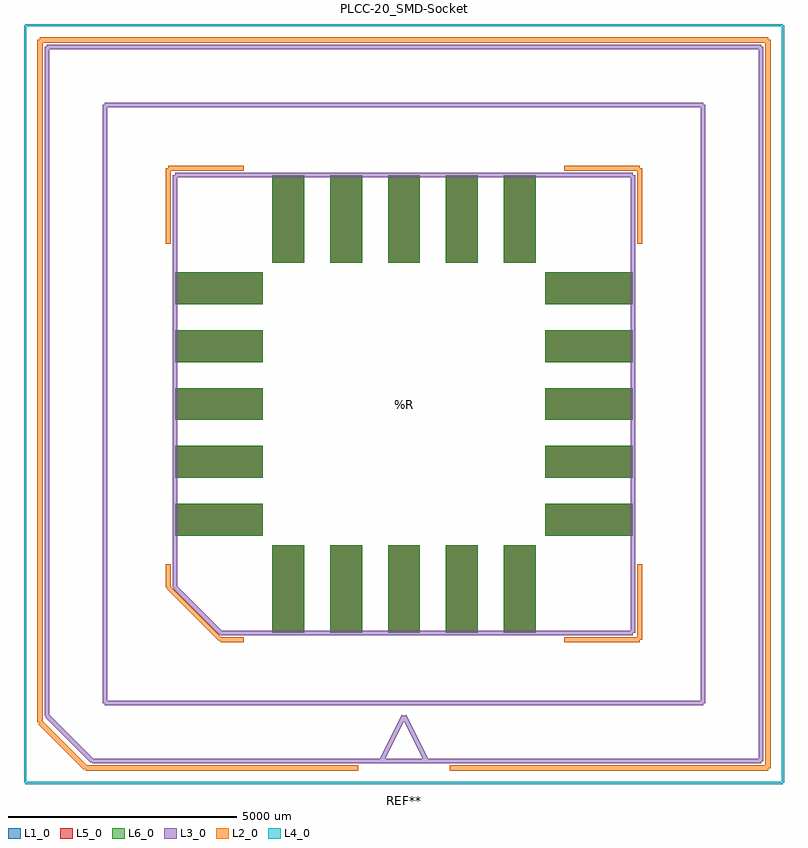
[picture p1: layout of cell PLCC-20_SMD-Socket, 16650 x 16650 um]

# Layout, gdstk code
import gdstk
lib = gdstk.Library(unit=1e-6, precision=1e-09)
def R(c, l, rs):  # rectangles x0, y0, x1, y1
    for r in rs: c.add(gdstk.rectangle(r[:2], r[2:], *l))
def A(c, l, x, y, w, h, nx, ny, dx, dy):  # array of equal rectangles
    R(c, l, [(x+i*dx, y+j*dy, x+i*dx+w, y+j*dy+h) for i in range(nx) for j in range(ny)])
L1_0 = (1, 0)
L2_0 = (2, 0)
L3_0 = (3, 0)
L4_0 = (4, 0)
L5_0 = (5, 0)
L6_0 = (6, 0)

plcc_20_smd_socket = lib.new_cell('PLCC-20_SMD-Socket')
A(plcc_20_smd_socket, L1_0, -2890, -5015, 700, 1925, 5, 2, 1270, 8105)
A(plcc_20_smd_socket, L1_0, -5015, -2890, 1925, 700, 1, 5, 0, 1270)
A(plcc_20_smd_socket, L1_0, 3090, -2890, 1925, 700, 1, 5, 0, 1270)
A(plcc_20_smd_socket, L5_0, -2890, -5015, 700, 1925, 5, 2, 1270, 8105)
A(plcc_20_smd_socket, L5_0, -5015, -2890, 1925, 700, 1, 5, 0, 1270)
A(plcc_20_smd_socket, L5_0, 3090, -2890, 1925, 700, 1, 5, 0, 1270)
A(plcc_20_smd_socket, L6_0, -2890, -5015, 700, 1925, 5, 2, 1270, 8105)
A(plcc_20_smd_socket, L6_0, -5015, -2890, 1925, 700, 1, 5, 0, 1270)
A(plcc_20_smd_socket, L6_0, 3090, -2890, 1925, 700, 1, 5, 0, 1270)
plcc_20_smd_socket.add(gdstk.FlexPath([(-6825,-7825),(-7825,-6825)], 100, ends="flush", simple_path=True, layer=3, datatype=0))  # L3_0
plcc_20_smd_socket.add(gdstk.FlexPath([(-7825,-6825),(-7825,7825)], 100, ends="flush", simple_path=True, layer=3, datatype=0))  # L3_0
plcc_20_smd_socket.add(gdstk.FlexPath([(-7825,7825),(7825,7825)], 100, ends="flush", simple_path=True, layer=3, datatype=0))  # L3_0
plcc_20_smd_socket.add(gdstk.FlexPath([(7825,7825),(7825,-7825)], 100, ends="flush", simple_path=True, layer=3, datatype=0))  # L3_0
plcc_20_smd_socket.add(gdstk.FlexPath([(7825,-7825),(-6825,-7825)], 100, ends="flush", simple_path=True, layer=3, datatype=0))  # L3_0
plcc_20_smd_socket.add(gdstk.FlexPath([(-8300,-8300),(-8300,8300)], 50, ends="flush", simple_path=True, layer=4, datatype=0))  # L4_0
plcc_20_smd_socket.add(gdstk.FlexPath([(-8300,8300),(8300,8300)], 50, ends="flush", simple_path=True, layer=4, datatype=0))  # L4_0
plcc_20_smd_socket.add(gdstk.FlexPath([(8300,8300),(8300,-8300)], 50, ends="flush", simple_path=True, layer=4, datatype=0))  # L4_0
plcc_20_smd_socket.add(gdstk.FlexPath([(8300,-8300),(-8300,-8300)], 50, ends="flush", simple_path=True, layer=4, datatype=0))  # L4_0
plcc_20_smd_socket.add(gdstk.FlexPath([(-4015,-5015),(-5015,-4015)], 100, ends="flush", simple_path=True, layer=3, datatype=0))  # L3_0
plcc_20_smd_socket.add(gdstk.FlexPath([(-5015,-4015),(-5015,5015)], 100, ends="flush", simple_path=True, layer=3, datatype=0))  # L3_0
plcc_20_smd_socket.add(gdstk.FlexPath([(-5015,5015),(5015,5015)], 100, ends="flush", simple_path=True, layer=3, datatype=0))  # L3_0
plcc_20_smd_socket.add(gdstk.FlexPath([(5015,5015),(5015,-5015)], 100, ends="flush", simple_path=True, layer=3, datatype=0))  # L3_0
plcc_20_smd_socket.add(gdstk.FlexPath([(5015,-5015),(-4015,-5015)], 100, ends="flush", simple_path=True, layer=3, datatype=0))  # L3_0
plcc_20_smd_socket.add(gdstk.FlexPath([(-6555,-6555),(-6555,6555)], 100, ends="flush", simple_path=True, layer=3, datatype=0))  # L3_0
plcc_20_smd_socket.add(gdstk.FlexPath([(-6555,6555),(6555,6555)], 100, ends="flush", simple_path=True, layer=3, datatype=0))  # L3_0
plcc_20_smd_socket.add(gdstk.FlexPath([(6555,6555),(6555,-6555)], 100, ends="flush", simple_path=True, layer=3, datatype=0))  # L3_0
plcc_20_smd_socket.add(gdstk.FlexPath([(6555,-6555),(-6555,-6555)], 100, ends="flush", simple_path=True, layer=3, datatype=0))  # L3_0
plcc_20_smd_socket.add(gdstk.FlexPath([(-500,-7825),(0,-6825)], 100, ends="flush", simple_path=True, layer=3, datatype=0))  # L3_0
plcc_20_smd_socket.add(gdstk.FlexPath([(0,-6825),(500,-7825)], 100, ends="flush", simple_path=True, layer=3, datatype=0))  # L3_0
plcc_20_smd_socket.add(gdstk.FlexPath([(-1000,-7975),(-6975,-7975)], 120, ends="flush", simple_path=True, layer=2, datatype=0))  # L2_0
plcc_20_smd_socket.add(gdstk.FlexPath([(-6975,-7975),(-7975,-6975)], 120, ends="flush", simple_path=True, layer=2, datatype=0))  # L2_0
plcc_20_smd_socket.add(gdstk.FlexPath([(-7975,-6975),(-7975,7975)], 120, ends="flush", simple_path=True, layer=2, datatype=0))  # L2_0
plcc_20_smd_socket.add(gdstk.FlexPath([(-7975,7975),(7975,7975)], 120, ends="flush", simple_path=True, layer=2, datatype=0))  # L2_0
plcc_20_smd_socket.add(gdstk.FlexPath([(7975,7975),(7975,-7975)], 120, ends="flush", simple_path=True, layer=2, datatype=0))  # L2_0
plcc_20_smd_socket.add(gdstk.FlexPath([(7975,-7975),(1000,-7975)], 120, ends="flush", simple_path=True, layer=2, datatype=0))  # L2_0
plcc_20_smd_socket.add(gdstk.FlexPath([(-3515,-5165),(-4015,-5165)], 100, ends="flush", simple_path=True, layer=2, datatype=0))  # L2_0
plcc_20_smd_socket.add(gdstk.FlexPath([(-4015,-5165),(-5165,-4015)], 100, ends="flush", simple_path=True, layer=2, datatype=0))  # L2_0
plcc_20_smd_socket.add(gdstk.FlexPath([(-5165,-4015),(-5165,-3515)], 100, ends="flush", simple_path=True, layer=2, datatype=0))  # L2_0
plcc_20_smd_socket.add(gdstk.FlexPath([(3515,-5165),(5165,-5165)], 100, ends="flush", simple_path=True, layer=2, datatype=0))  # L2_0
plcc_20_smd_socket.add(gdstk.FlexPath([(5165,-5165),(5165,-3515)], 100, ends="flush", simple_path=True, layer=2, datatype=0))  # L2_0
plcc_20_smd_socket.add(gdstk.FlexPath([(-3515,5165),(-5165,5165)], 100, ends="flush", simple_path=True, layer=2, datatype=0))  # L2_0
plcc_20_smd_socket.add(gdstk.FlexPath([(-5165,5165),(-5165,3515)], 100, ends="flush", simple_path=True, layer=2, datatype=0))  # L2_0
plcc_20_smd_socket.add(gdstk.FlexPath([(3515,5165),(5165,5165)], 100, ends="flush", simple_path=True, layer=2, datatype=0))  # L2_0
plcc_20_smd_socket.add(gdstk.FlexPath([(5165,5165),(5165,3515)], 100, ends="flush", simple_path=True, layer=2, datatype=0))  # L2_0
plcc_20_smd_socket.add(gdstk.Label('REF**', (0,-8825), layer=2, texttype=0))
plcc_20_smd_socket.add(gdstk.Label('PLCC-20_SMD-Socket', (0,8825), layer=3, texttype=0))
plcc_20_smd_socket.add(gdstk.Label('%R', (0,0), layer=3, texttype=0))

lib.write_gds('PLCC-20_SMD-Socket.gds')
